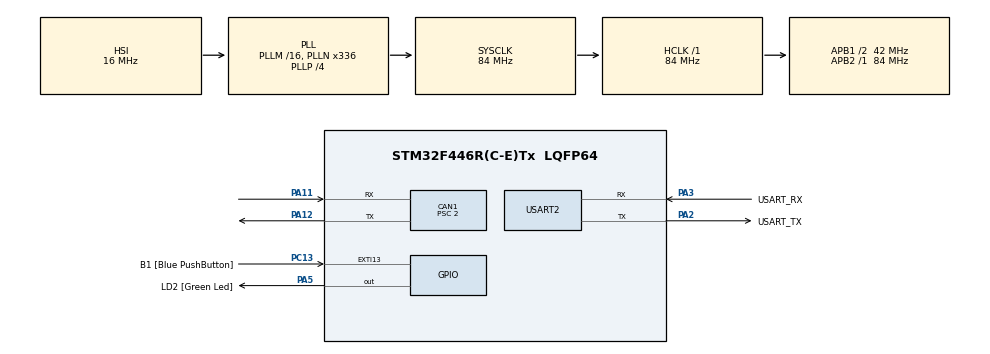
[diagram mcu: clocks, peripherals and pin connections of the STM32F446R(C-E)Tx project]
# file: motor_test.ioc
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CAN1.BS1=CAN_BS1_16TQ
CAN1.BS2=CAN_BS2_4TQ
CAN1.CalculateBaudRate=1000000
CAN1.CalculateTimeBit=1000
CAN1.CalculateTimeQuantum=47.61904761904762
CAN1.Prescaler=2
Mcu.Family=STM32F4
Mcu.Name=STM32F446R(C-E)Tx
Mcu.Package=LQFP64
NVIC.CAN1_RX0_IRQn=true\:0\:0\:false\:false\:true\:true\:true\:true
NVIC.PriorityGroup=NVIC_PRIORITYGROUP_0
PA11.Mode=CAN_Activate
PA11.Signal=CAN1_RX
PA12.Mode=CAN_Activate
PA12.Signal=CAN1_TX
PA13.GPIO_Label=TMS
PA13.Mode=Serial_Wire
PA13.Signal=SYS_JTMS-SWDIO
PA14.GPIO_Label=TCK
PA14.Mode=Serial_Wire
PA14.Signal=SYS_JTCK-SWCLK
PA2.GPIO_Label=USART_TX
PA2.Mode=Asynchronous
PA2.Signal=USART2_TX
PA3.GPIO_Label=USART_RX
PA3.Mode=Asynchronous
PA3.Signal=USART2_RX
PA5.GPIO_Label=LD2 [Green Led]
PA5.Signal=GPIO_Output
PB3.GPIO_Label=SWO
PB3.Signal=SYS_JTDO-SWO
PC13.GPIO_Label=B1 [Blue PushButton]
PC13.GPIO_ModeDefaultEXTI=GPIO_MODE_IT_FALLING
PC13.Signal=GPXTI13
PC14-OSC32_IN.Mode=LSE-External-Oscillator
PC14-OSC32_IN.Signal=RCC_OSC32_IN
PC15-OSC32_OUT.Mode=LSE-External-Oscillator
PC15-OSC32_OUT.Signal=RCC_OSC32_OUT
PH0-OSC_IN.Mode=HSE-External-Oscillator
PH0-OSC_IN.Signal=RCC_OSC_IN
PH1-OSC_OUT.Mode=HSE-External-Oscillator
PH1-OSC_OUT.Signal=RCC_OSC_OUT
ProjectManager.HeapSize=0x200
ProjectManager.StackSize=0x400
ProjectManager.TargetToolchain=STM32CubeIDE
RCC.48MHZClocksFreq_Value=84000000
RCC.AHBFreq_Value=84000000
RCC.APB1CLKDivider=RCC_HCLK_DIV2
RCC.APB1Freq_Value=42000000
RCC.APB1TimFreq_Value=84000000
RCC.APB2Freq_Value=84000000
RCC.APB2TimFreq_Value=84000000
RCC.CortexFreq_Value=84000000
RCC.FLatency-AdvancedSettings=FLASH_LATENCY_2
RCC.HCLKFreq_Value=84000000
RCC.HSE_VALUE=8000000
RCC.HSI_VALUE=16000000
RCC.PLLN=336
RCC.PLLP=RCC_PLLP_DIV4
RCC.SYSCLKFreq_VALUE=84000000
RCC.SYSCLKSource=RCC_SYSCLKSOURCE_PLLCLK
RCC.USBFreq_Value=168000000
RCC.VCOOutputFreq_Value=336000000
USART2.VirtualMode=VM_ASYNC
board=NUCLEO-F446RE

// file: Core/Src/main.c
/* USER CODE BEGIN Header */
/**
  ******************************************************************************
  * @file           : main.c
  * @brief          : Main program body
  ******************************************************************************
  * @attention
  *
  * Copyright (c) 2025 STMicroelectronics.
  * All rights reserved.
  *
  * This software is licensed under terms that can be found in the LICENSE file
  * in the root directory of this software component.
  * If no LICENSE file comes with this software, it is provided AS-IS.
  *
  ******************************************************************************
  */
/* USER CODE END Header */
#include "main.h"

/* USER CODE BEGIN Includes */

#include "stm32f4xx_hal.h"
#include "stm32f4xx_hal_def.h"
#include "stm32f4xx_hal_uart.h"
#include <stdint.h>
#include <stdio.h>
#include <string.h>
#include "uart_dbg.h"
#include "cubemars.h"
#include "robostride_test.h"

/* USER CODE END Includes */

CAN_HandleTypeDef hcan1;

UART_HandleTypeDef huart2;

void SystemClock_Config(void);
static void MX_GPIO_Init(void);
static void MX_USART2_UART_Init(void);
static void MX_CAN1_Init(void);

/* USER CODE BEGIN 0 */
//These are all necessary definitions to use the can bus
CAN_TxHeaderTypeDef TxHeader;
CAN_RxHeaderTypeDef RxHeader;

uint32_t TxMailbox;

uint8_t recv_msg[8];

// uint32_t cur_time = 0;
// float cur_pos = 3.14;

char uart_msg[100];

uint8_t can_receive_flag;

motor_t motors[5]; //By default we assume 5 motors will be connected to the chain

void can_motor_init()
{
	for (int i = 0; i < sizeof motors ; i ++){
		motors[i].id = i + 1;
		motors[i].master_id = CAN_master_id;
		motors[i].motor_mode = MIT_MODE;

		can_enable_motor(motors[i].id, motors[i].master_id);
	}
}

void HAL_CAN_RxFifo0MsgPendingCallback(CAN_HandleTypeDef *hcan1)
{

  HAL_CAN_GetRxMessage(hcan1, CAN_RX_FIFO0, &rs_can_rx_header, recv_msg);
  uint8_t motor_id = rs_can_rx_header.ExtId & 0xFF;
  snprintf(uart_msg, sizeof uart_msg, "Motor #%d Feedback Received:\n", motor_id);
  HAL_UART_Transmit(&huart2, recv_msg, strlen(recv_msg), HAL_MAX_DELAY);
  can_unpack_motor_feedback(&motors[(motor_id) - 1], recv_msg);
  snprintf(uart_msg, sizeof(uart_msg), "RS Feedback:\r\n temp=%.1f, pos=%.3f, rpm=%.3f, torq=%.3f\n\r",
		  motors[motor_id - 1].temperature, motors[motor_id - 1].pos, motors[motor_id - 1].rpm,
		  motors[motor_id - 1].torq);
//  can_receive_flag = 1;
}

/* USER CODE END 0 */

int main(void)
{

  /* MCU Configuration--------------------------------------------------------*/

  /* Reset of all peripherals, Initializes the Flash interface and the Systick. */
  HAL_Init();

  /* USER CODE BEGIN Init */
  can_receive_flag = 0;

  /* USER CODE END Init */

  /* Configure the system clock */
  SystemClock_Config();

  /* Initialize all configured peripherals */
  MX_GPIO_Init();
  MX_USART2_UART_Init();
  MX_CAN1_Init();
  /* USER CODE BEGIN 2 */
  if (HAL_CAN_Start(&hcan1) != HAL_OK){
     return 1;
   }
   HAL_CAN_ActivateNotification(&hcan1, CAN_IT_RX_FIFO0_MSG_PENDING);
   char uart_msg[100];
   /*
     Go to the can filter config defined in the CAN 1 init function
     Filter Fifo assignment was assigned to CAN rx fifo 0
     since we have turned on thee RX fifo0 intr, RXfifo msg pending callback will be called once incoming data was stored in the RX FIFO0
     count will increment
   */
//   can_enable_motor(RS_test_motor_id, CAN_master_id);
//   HAL_Delay(1000);
   can_motor_init();
   HAL_Delay(1);
   can_mit_control_set(motors[0].id, 0, 0, 10, 0, 5);
   can_mit_control_set(motors[1].id, 0, 0, 2, 0, 5);

   // CUBEMARS_enable_motion_ctrl(&hcan1, &TxMailbox);

  /* USER CODE END 2 */

  /* Infinite loop */
  while (1)
  {

    /* USER CODE BEGIN 3 */
	  // if (HAL_GetTick() - cur_time > 3000) {
	      //   cur_time = HAL_GetTick();
	      //   snprintf(uart_msg, sizeof(uart_msg), "Motor Report:\r\nTEMP: %0d | ERROR_CODE: %0x\r\nPOS: %0d | SPD: %0d | TORQ: %0d\r\n", motor_temp, error_code, pos_int, spd_int, torq_int);
	      //   HAL_UART_Transmit(&huart2, uart_msg, sizeof(uart_msg), HAL_MAX_DELAY);
	      //   if (CUBEMARS_set_motion_ctrl_parameters(&hcan1, &TxMailbox, cur_pos, 0, 200, 3, 0.0) != HAL_OK){
	      //     char *msg = "set pos failed\n";
	      //     HAL_UART_Transmit(&huart2, msg, strlen(msg), HAL_MAX_DELAY);
	      //   }
	      //     CUBEMARS_enable_motion_ctrl(&hcan1, &TxMailbox);
	      //   cur_pos = -cur_pos;
	      // }
	      snprintf(uart_msg, sizeof(uart_msg), "uart-cmd$: ");
	      HAL_UART_Transmit(&huart2, uart_msg, strlen(uart_msg), HAL_MAX_DELAY);
	      if(uart_get_new_line(&huart2, uart_msg, sizeof(uart_msg))!=HAL_OK){
	        snprintf(uart_msg, sizeof(uart_msg), "UART error\r\n");
	        HAL_UART_Transmit(&huart2, uart_msg, strlen(uart_msg), HAL_MAX_DELAY);
	        return -1;
	      }
	      uart_parse_cmd(&huart2, uart_msg, strlen(uart_msg));

  }
  /* USER CODE END 3 */
}

void SystemClock_Config(void)
{
  RCC_OscInitTypeDef RCC_OscInitStruct = {0};
  RCC_ClkInitTypeDef RCC_ClkInitStruct = {0};

  /** Configure the main internal regulator output voltage
  */
  __HAL_RCC_PWR_CLK_ENABLE();
  __HAL_PWR_VOLTAGESCALING_CONFIG(PWR_REGULATOR_VOLTAGE_SCALE3);

  /** Initializes the RCC Oscillators according to the specified parameters
  * in the RCC_OscInitTypeDef structure.
  */
  RCC_OscInitStruct.OscillatorType = RCC_OSCILLATORTYPE_HSI;
  RCC_OscInitStruct.HSIState = RCC_HSI_ON;
  RCC_OscInitStruct.HSICalibrationValue = RCC_HSICALIBRATION_DEFAULT;
  RCC_OscInitStruct.PLL.PLLState = RCC_PLL_ON;
  RCC_OscInitStruct.PLL.PLLSource = RCC_PLLSOURCE_HSI;
  RCC_OscInitStruct.PLL.PLLM = 16;
  RCC_OscInitStruct.PLL.PLLN = 336;
  RCC_OscInitStruct.PLL.PLLP = RCC_PLLP_DIV4;
  RCC_OscInitStruct.PLL.PLLQ = 2;
  RCC_OscInitStruct.PLL.PLLR = 2;
  if (HAL_RCC_OscConfig(&RCC_OscInitStruct) != HAL_OK)
  {
    Error_Handler();
  }

  /** Initializes the CPU, AHB and APB buses clocks
  */
  RCC_ClkInitStruct.ClockType = RCC_CLOCKTYPE_HCLK|RCC_CLOCKTYPE_SYSCLK
                              |RCC_CLOCKTYPE_PCLK1|RCC_CLOCKTYPE_PCLK2;
  RCC_ClkInitStruct.SYSCLKSource = RCC_SYSCLKSOURCE_PLLCLK;
  RCC_ClkInitStruct.AHBCLKDivider = RCC_SYSCLK_DIV1;
  RCC_ClkInitStruct.APB1CLKDivider = RCC_HCLK_DIV2;
  RCC_ClkInitStruct.APB2CLKDivider = RCC_HCLK_DIV1;

  if (HAL_RCC_ClockConfig(&RCC_ClkInitStruct, FLASH_LATENCY_2) != HAL_OK)
  {
    Error_Handler();
  }
}

static void MX_CAN1_Init(void)
{

  hcan1.Instance = CAN1;
  hcan1.Init.Prescaler = 2;
  hcan1.Init.Mode = CAN_MODE_NORMAL;
  hcan1.Init.SyncJumpWidth = CAN_SJW_1TQ;
  hcan1.Init.TimeSeg1 = CAN_BS1_16TQ;
  hcan1.Init.TimeSeg2 = CAN_BS2_4TQ;
  hcan1.Init.TimeTriggeredMode = DISABLE;
  hcan1.Init.AutoBusOff = DISABLE;
  hcan1.Init.AutoWakeUp = DISABLE;
  hcan1.Init.AutoRetransmission = DISABLE;
  hcan1.Init.ReceiveFifoLocked = DISABLE;
  hcan1.Init.TransmitFifoPriority = DISABLE;
  if (HAL_CAN_Init(&hcan1) != HAL_OK)
  {
    Error_Handler();
  }

}

static void MX_USART2_UART_Init(void)
{

  huart2.Instance = USART2;
  huart2.Init.BaudRate = 115200;
  huart2.Init.WordLength = UART_WORDLENGTH_8B;
  huart2.Init.StopBits = UART_STOPBITS_1;
  huart2.Init.Parity = UART_PARITY_NONE;
  huart2.Init.Mode = UART_MODE_TX_RX;
  huart2.Init.HwFlowCtl = UART_HWCONTROL_NONE;
  huart2.Init.OverSampling = UART_OVERSAMPLING_16;
  if (HAL_UART_Init(&huart2) != HAL_OK)
  {
    Error_Handler();
  }

}

static void MX_GPIO_Init(void)
{
  GPIO_InitTypeDef GPIO_InitStruct = {0};

  /* GPIO Ports Clock Enable */
  __HAL_RCC_GPIOC_CLK_ENABLE();
  __HAL_RCC_GPIOH_CLK_ENABLE();
  __HAL_RCC_GPIOA_CLK_ENABLE();
  __HAL_RCC_GPIOB_CLK_ENABLE();

  /*Configure GPIO pin Output Level */
  HAL_GPIO_WritePin(LD2_GPIO_Port, LD2_Pin, GPIO_PIN_RESET);

  /*Configure GPIO pin : B1_Pin */
  GPIO_InitStruct.Pin = B1_Pin;
  GPIO_InitStruct.Mode = GPIO_MODE_IT_FALLING;
  GPIO_InitStruct.Pull = GPIO_NOPULL;
  HAL_GPIO_Init(B1_GPIO_Port, &GPIO_InitStruct);

  /*Configure GPIO pin : LD2_Pin */
  GPIO_InitStruct.Pin = LD2_Pin;
  GPIO_InitStruct.Mode = GPIO_MODE_OUTPUT_PP;
  GPIO_InitStruct.Pull = GPIO_NOPULL;
  GPIO_InitStruct.Speed = GPIO_SPEED_FREQ_LOW;
  HAL_GPIO_Init(LD2_GPIO_Port, &GPIO_InitStruct);

}

void Error_Handler(void)
{
  __disable_irq();
  while (1)
  {
  }
}
